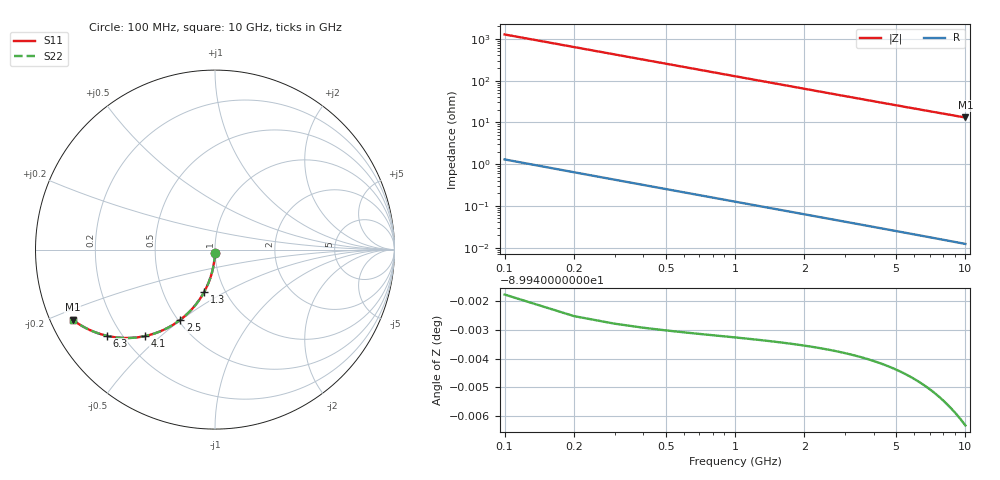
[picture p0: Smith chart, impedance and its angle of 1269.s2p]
# Hz S RI R 50.00
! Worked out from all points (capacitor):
!   100 points, 100 MHz to 10 GHz, reference 50 ohm
!   read as one part in shunt: C = 1.25 pF near 100 MHz
!   lowest |Z| = 13.1 ohm at 10 GHz (marker M1)
!   S11 on the Smith chart (normalised r, x): 100 MHz: 1.00, -0.04; 1.3 GHz: 0.79, -0.40; 2.5 GHz: 0.51, -0.50; 4.1 GHz: 0.28, -0.44; 6.3 GHz: 0.14, -0.34; 10 GHz: 0.06, -0.23
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1e8  -0.000379 -0.0195  0.9996 -0.0198  0.9996 -0.0198  -0.000379 -0.0195
2e8  -0.00155 -0.0389  0.9984 -0.0395  0.9984 -0.0395  -0.00155 -0.0389
3e8  -0.00349 -0.0583  0.9965 -0.0591  0.9965 -0.0591  -0.00349 -0.0583
4e8  -0.00617 -0.0775  0.9938 -0.0785  0.9938 -0.0785  -0.00617 -0.0775
5e8  -0.0096 -0.0965  0.9903 -0.0978  0.9903 -0.0978  -0.0096 -0.0965
6e8  -0.0138 -0.1153  0.9862 -0.1169  0.9862 -0.1169  -0.0138 -0.1153
8e8  -0.0242 -0.1521  0.9758 -0.1542  0.9758 -0.1542  -0.0242 -0.1521
1e9  -0.0372 -0.1875  0.9627 -0.1902  0.9627 -0.1902  -0.0372 -0.1875
1.3e9  -0.0612 -0.2376  0.9387 -0.2411  0.9387 -0.2411  -0.0612 -0.2376
1.5e9  -0.0799 -0.2686  0.9201 -0.2727  0.9201 -0.2727  -0.0799 -0.2686
1.8e9  -0.111 -0.3113  0.8889 -0.3161  0.8889 -0.3161  -0.111 -0.3113
2.1e9  -0.1452 -0.349  0.8547 -0.3547  0.8547 -0.3547  -0.1452 -0.349
2.5e9  -0.1939 -0.3915  0.806 -0.3983  0.806 -0.3983  -0.1939 -0.3915
2.9e9  -0.2444 -0.4253  0.7555 -0.4332  0.7555 -0.4332  -0.2444 -0.4253
3.4e9  -0.3076 -0.4564  0.6923 -0.4657  0.6923 -0.4657  -0.3076 -0.4564
4.1e9  -0.3923 -0.4821  0.6076 -0.4934  0.6076 -0.4934  -0.3923 -0.4821
5.1e9  -0.4995 -0.4925  0.5003 -0.5065  0.5003 -0.5065  -0.4995 -0.4925
6.3e9  -0.6036 -0.4799  0.3962 -0.4974  0.3962 -0.4974  -0.6036 -0.4799
6.7e9  -0.6326 -0.4722  0.3671 -0.4909  0.3671 -0.4909  -0.6326 -0.4722
7.5e9  -0.6834 -0.4541  0.3164 -0.4751  0.3164 -0.4751  -0.6834 -0.4541
8.4e9  -0.7304 -0.4313  0.2693 -0.455  0.2693 -0.455  -0.7304 -0.4313
1e10  -0.7936 -0.3898  0.2059 -0.4182  0.2059 -0.4182  -0.7936 -0.3898
